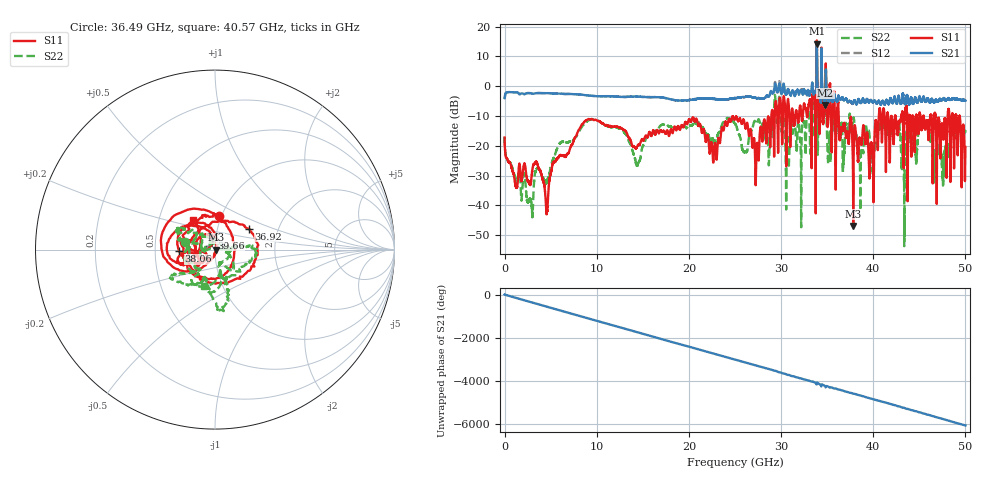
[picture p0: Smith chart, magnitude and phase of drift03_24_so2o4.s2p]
!Created with skrf (http://scikit-rf.org).
# Hz S RI R 50.0
!freq ReS11 ImS11 ReS21 ImS21 ReS12 ImS12 ReS22 ImS22
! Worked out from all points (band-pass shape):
!   10001 points, 300 kHz to 50 GHz, reference 50 ohm
!   highest |S21| = 14.31 dB at 33.88 GHz (marker M1); lowest = -6.3 dB at 34.79 GHz (marker M2)
!   |S21| within 3 dB of the highest: 33.86985 GHz to 33.88873 GHz (18.88 MHz wide, 0.0557 % of centre); 34.37705 GHz to 34.38941 GHz (12.36 MHz wide, 0.036 % of centre)
!   lowest |S11| = -46.9 dB at 37.83 GHz (marker M3), VSWR 1.01, Z = 50.5 + j0.00157 ohm
!   |S11| at or under -10 dB: start of sweep to 28.94 GHz; 36.27 GHz to 40.61 GHz (4.342 GHz wide, 11.3 % of centre); 46.75 GHz to 48.08 GHz (1.332 GHz wide, 2.81 % of centre) (the widest 3 of 54)
!   |S22| runs from -53.7 to 10.8 dB; largest |S21 - S12| = 0.8
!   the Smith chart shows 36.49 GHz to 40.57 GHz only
!   S11 on the Smith chart (normalised r, x): 36.49 GHz: 0.97, +0.38; 36.92 GHz: 1.42, +0.35; 38.06 GHz: 0.67, -0.01; 39.66 GHz: 0.95, +0.13; 40.57 GHz: 0.74, +0.26
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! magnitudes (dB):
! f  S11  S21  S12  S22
! 300 kHz  -17.3  -4.0  -4.0  -17.0
! 2.825 GHz  -32.7  -2.4  -2.4  -38.3
! 4.565 GHz  -41.9  -2.3  -2.3  -32.2
! 8.335 GHz  -13.1  -2.8  -2.8  -13.9
! 14.43 GHz  -20.0  -3.5  -3.5  -26.4
! 16.67 GHz  -15.4  -3.7  -3.7  -14.3
! 22.82 GHz  -19.3  -4.3  -4.3  -19.1
! 25 GHz  -11.0  -4.0  -4.0  -12.5
! 27.39 GHz  -19.3  -4.1  -4.1  -12.4
! 29.6 GHz  -10.5  -2.0  -2.1  -11.8
! 30.7 GHz  -5.8  -1.5  -1.5  -17.4
! 33.34 GHz  -14.0  -0.6  -0.6  -7.3
! 33.88 GHz  15.3  14.3  14.0  10.8
! 34.79 GHz  -3.2  -6.3  -5.0  -8.7
! 36.49 GHz  -14.4  -4.4  -4.4  -15.3
! 36.92 GHz  -13.0  -4.4  -4.4  -19.1
! 37.83 GHz  -46.9  -5.5  -5.6  -11.4
! 38.06 GHz  -13.9  -5.4  -5.4  -17.2
! 39.66 GHz  -23.1  -4.9  -4.8  -18.9
! 40.57 GHz  -13.7  -4.9  -5.0  -13.5
! 41.67 GHz  -12.2  -6.0  -6.0  -15.5
! 50 GHz  -20.4  -4.9  -4.9  -15.1
